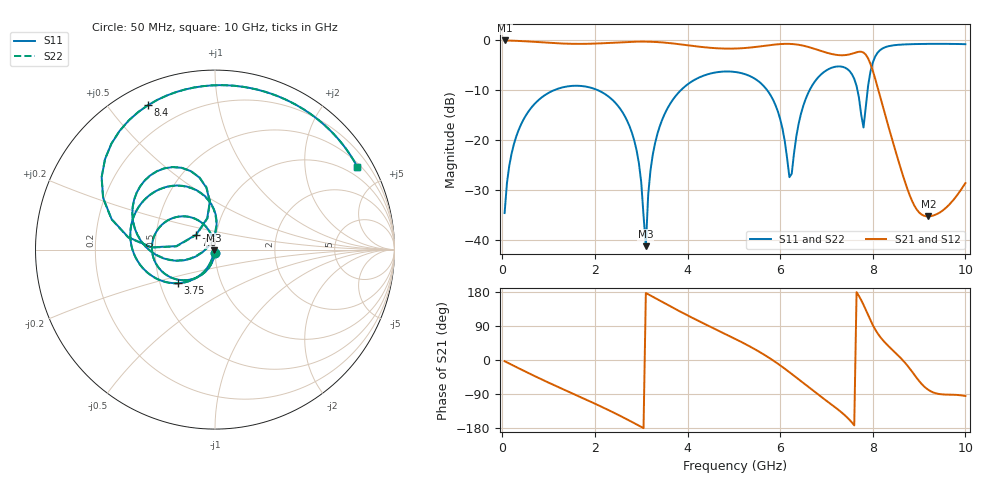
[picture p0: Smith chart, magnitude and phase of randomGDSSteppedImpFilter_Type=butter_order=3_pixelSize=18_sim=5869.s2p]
! freq	dB(S11)	phase(S11)	dB(S12)	phase(S12)
!  dB(S21)	phase(S21)	dB(S22)	phase(S22)
!S-par simulation data
#  GHz  S  DB  R 50
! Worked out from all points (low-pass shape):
!   200 points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, 50 MHz to 10 GHz, reference 50 ohm
!   highest |S21| = -0.01 dB at 50 MHz (marker M1); lowest = -35.2 dB at 9.2 GHz (marker M2)
!   |S21| within 3 dB of the highest: start of sweep to 7.86 GHz
!   lowest |S11| = -41.2 dB at 3.1 GHz (marker M3), VSWR 1.02, Z = 49.3 - j0.491 ohm
!   |S11| at or under -10 dB: start of sweep to 1.111 GHz; 2.069 GHz to 3.853 GHz (1.783 GHz wide, 60.2 % of centre); 5.721 GHz to 6.635 GHz (913.2 MHz wide, 14.8 % of centre) (the widest 3 of 4)
!   |S22| runs from -41.8 to -0.7 dB; largest |S21 - S12| = 0
!   S11 on the Smith chart (normalised r, x): 50 MHz: 1.00, -0.04; 3.75 GHz: 0.62, -0.25; 7.8 GHz: 0.80, +0.13; 8.4 GHz: 0.08, +0.63; 10 GHz: 0.62, +3.60
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0.05  -34.59 -93.4  -0.01 -3.1  -0.01 -3.1  -34.59 -93.4
0.2  -22.69 -102.8  -0.04 -12.4  -0.04 -12.4  -22.69 -102.8
0.5  -15.16 -121.0  -0.17 -30.6  -0.17 -30.6  -15.16 -121.0
1.75  -9.17 168.4  -0.69 -101.3  -0.69 -101.3  -9.17 168.4
2.75  -17.24 111.5  -0.29 -160.2  -0.29 -160.2  -17.24 111.3
2.95  -24.61 102.4  -0.24 -173.2  -0.24 -173.2  -24.62 101.8
3.1  -41.22 -145.1  -0.24 176.9  -0.24 176.9  -41.75 -142.1
3.2  -26.03 -108.2  -0.26 170.2  -0.26 170.2  -26.04 -107.3
3.4  -17.21 -116.6  -0.36 156.8  -0.36 156.8  -17.21 -116.2
3.75  -11.06 -138.0  -0.68 133.7  -0.68 133.7  -11.06 -137.8
5.05  -6.35 145.0  -1.62 54.5  -1.62 54.5  -6.34 145.2
5.85  -11.95 94.4  -0.86 -1.3  -0.86 -1.3  -11.95 94.8
6.2  -27.40 124.5  -0.69 -32.1  -0.69 -32.1  -27.06 125.4
6.7  -8.91 -178.5  -1.56 -79.9  -1.56 -79.9  -8.90 -178.7
7.45  -5.73 117.3  -2.88 -151.9  -2.88 -151.9  -5.73 117.1
7.8  -17.45 141.8  -2.42 145.6  -2.42 145.6  -17.56 141.9
8.05  -3.27 155.2  -7.60 81.1  -7.60 81.1  -3.27 155.3
8.35  -1.13 119.2  -17.63 35.3  -17.63 35.3  -1.13 119.2
8.4  -1.04 115.0  -19.26 29.4  -19.26 29.4  -1.04 115.0
8.85  -0.74 85.7  -32.19 -30.9  -32.19 -30.9  -0.74 85.7
9.2  -0.69 67.6  -35.24 -78.7  -35.24 -78.7  -0.69 67.6
10  -0.75 30.3  -28.58 -95.0  -28.58 -95.0  -0.75 30.3
